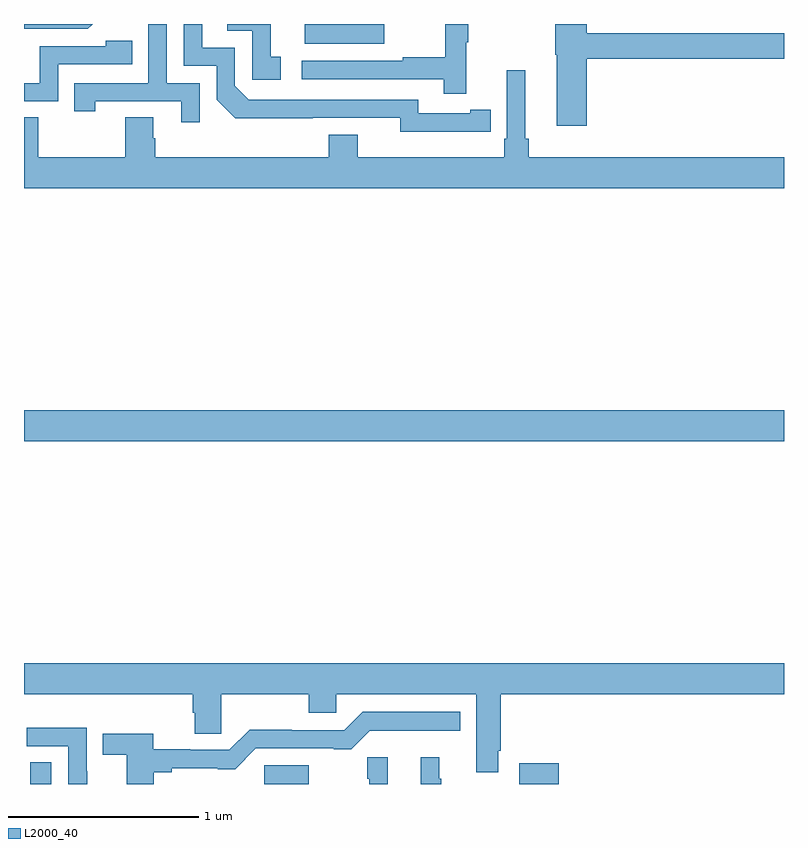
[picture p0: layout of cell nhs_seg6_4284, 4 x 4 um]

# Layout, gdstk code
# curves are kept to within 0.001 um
import gdstk
lib = gdstk.Library(unit=1e-6, precision=1e-09)
def R(c, l, rs):  # rectangles x0, y0, x1, y1
    for r in rs: c.add(gdstk.rectangle(r[:2], r[2:], *l))
def P(c, l, *ps):  # polygons
    for p in ps: c.add(gdstk.Polygon(p, *l))
L2000_40 = (2000, 40)

nhs_seg6_4284 = lib.new_cell('nhs_seg6_4284')
R(nhs_seg6_4284, L2000_40, [(363.032,977.5,363.144,977.615), (364.265,977.5,364.498,977.599), (365.606,977.5,365.815,977.608), (363,979.304,367,979.468), (364.478,981.395,364.897,981.5)])
P(nhs_seg6_4284, L2000_40, [(363.924,981.189),(363.75,981.189),(363.75,981.5),(363.654,981.5),(363.654,981.189),(363.265,981.189),(363.265,981.042),(363.376,981.042),(363.376,981.093),(363.827,981.093),(363.827,980.982),(363.924,980.982)],
  [(365.327,981.403),(365.338,981.403),(365.338,981.5),(365.217,981.5),(365.217,981.326),(364.993,981.326),(364.993,981.306),(364.461,981.306),(364.461,981.21),(365.209,981.21),(365.209,981.132),(365.327,981.132)],
  [(365.963,981.316),(367,981.316),(367,981.452),(365.963,981.452),(365.963,981.5),(365.797,981.5),(365.797,981.339),(365.804,981.339),(365.804,980.964),(365.963,980.964)],
  [(365.348,980.934),(365.456,980.934),(365.456,981.05),(365.348,981.05),(365.348,981.03),(365.076,981.03),(365.076,981.102),(364.182,981.102),(364.11,981.174),(364.11,981.375),(363.937,981.375),(363.937,981.5),(363.84,981.5),(363.84,981.279),(364.014,981.279),(364.014,981.102),(364.112,981.005),(364.98,981.006),(364.98,980.933)],
  [(364.351,981.327),(364.298,981.327),(364.298,981.5),(364.071,981.5),(364.071,981.465),(364.2,981.465),(364.2,981.207),(364.351,981.207)],
  [(363.362,981.5),(363,981.5),(363,981.474),(363.336,981.474)],
  [(363.18,981.288),(363.569,981.288),(363.569,981.411),(363.429,981.411),(363.429,981.384),(363.084,981.384),(363.084,981.189),(363,981.189),(363,981.093),(363.18,981.093)],
  [(367,980.8),(365.657,980.8),(365.657,980.896),(365.638,980.896),(365.638,981.256),(365.541,981.256),(365.541,980.896),(365.528,980.896),(365.528,980.8),(364.756,980.8),(364.756,980.917),(364.604,980.917),(364.604,980.8),(363.692,980.8),(363.692,980.898),(363.679,980.898),(363.679,981.008),(363.532,981.008),(363.532,980.8),(363.075,980.8),(363.075,981.008),(363,981.008),(363,980.636),(367,980.636)],
  [(365.497,977.674),(365.51,977.674),(365.51,977.972),(367,977.972),(367,978.136),(363,978.136),(363,977.972),(363.887,977.972),(363.887,977.874),(363.899,977.874),(363.899,977.764),(364.038,977.764),(364.038,977.972),(364.498,977.972),(364.498,977.874),(364.644,977.874),(364.644,977.972),(365.381,977.972),(365.381,977.562),(365.497,977.562)],
  [(363.682,977.563),(363.778,977.563),(363.778,977.583),(364.019,977.583),(364.019,977.578),(364.111,977.578),(364.221,977.688),(364.631,977.688),(364.631,977.683),(364.723,977.683),(364.821,977.781),(365.296,977.78),(365.296,977.881),(364.783,977.881),(364.686,977.784),(364.409,977.784),(364.409,977.786),(364.187,977.786),(364.08,977.679),(363.876,977.679),(363.876,977.684),(363.679,977.684),(363.679,977.764),(363.415,977.764),(363.415,977.653),(363.542,977.653),(363.542,977.5),(363.682,977.5)],
  [(363.332,977.567),(363.33,977.567),(363.33,977.797),(363.015,977.797),(363.015,977.7),(363.234,977.7),(363.234,977.5),(363.332,977.5)],
  [(364.914,977.641),(364.806,977.641),(364.806,977.528),(364.818,977.528),(364.818,977.5),(364.914,977.5)],
  [(365.197,977.528),(365.186,977.528),(365.186,977.641),(365.087,977.641),(365.087,977.5),(365.197,977.5)])

lib.write_gds('nhs_seg6_4284.gds')
